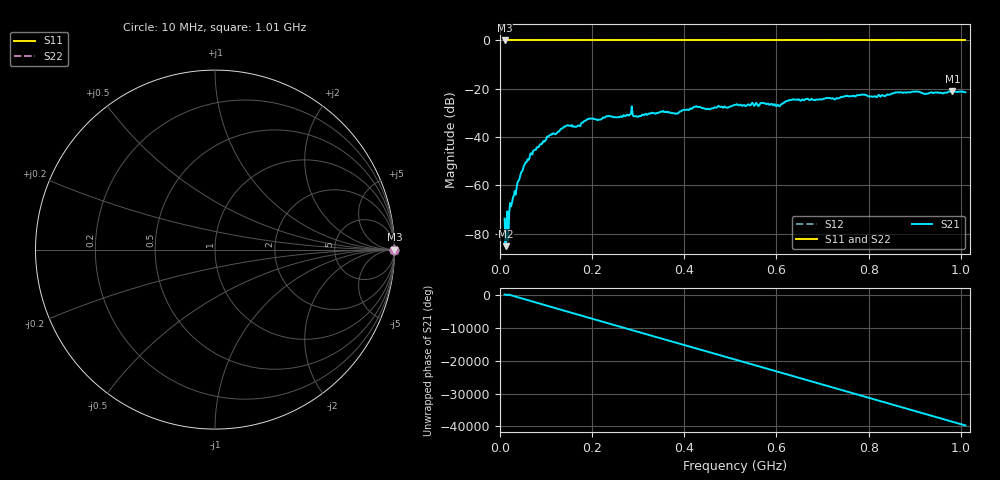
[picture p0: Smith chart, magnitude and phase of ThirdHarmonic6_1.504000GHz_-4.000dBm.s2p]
! 8/16/2025 5:40:41 PM
! C:\ANRITSUVNA\TEMP\TEMP.S2P
! CHANNEL.1
! TR.MEASUREMENT
! RAW.DATA
! RF.CORRECTION.OFF
! AVERAGING.OFF
! IF.BANDWIDTH: 5KHZ
! SWEEPTYPE:  FREQ.SWEEP(Linear)
! Reference Plane Port Info
! PORT:  PORT1  PORT2
! DISTANCE:  0  m  0  m
! TIME:  0  s  0  s
! PHASE.OFFSET:  0  deg.  0  deg.
! LOSS:  0  dB  0  dB
! REF.LOSS:  0  dB  0  dB
! REF.FREQ:  0  Hz  0  Hz
! Power Info
! POWER:  -20  dBm  -20  dBm
! EFF.POWER:  -20  dBm  -20  dBm
! SOURCE.ATTEN:  0  dB  0  dB
! TEST.ATTEN:  0  dB  0  dB
# GHZ S RI R 50.0
! FREQ.GHZ  S11RE  S11IM  S21RE  S21IM  S12RE  S12IM  S22RE  S22IM
!; PortSelection: Port_12
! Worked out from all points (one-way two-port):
!   501 points, 10 MHz to 1.01 GHz, reference 50 ohm
!   highest |S21| = -20.99 dB at 982 MHz (marker M1); lowest = -85.1 dB at 12 MHz (marker M2)
!   lowest |S11| = 0.0 dB at 10 MHz (marker M3)
!   |S11| at or under -10 dB: nowhere
!   |S22| runs from 0.0 to 0.0 dB; largest |S21 - S12| = 1.1
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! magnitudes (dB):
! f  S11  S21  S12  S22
! 10 MHz  0.0  -73.7  0.0  0.0
! 12 MHz  0.0  -85.1  0.0  0.0
! 16 MHz  0.0  -70.7  0.0  0.0
! 26 MHz  0.0  -67.2  0.0  0.0
! 48 MHz  0.0  -54.2  0.0  0.0
! 70 MHz  0.0  -47.2  0.0  0.0
! 106 MHz  0.0  -39.5  0.0  0.0
! 144 MHz  0.0  -35.4  0.0  0.0
! 178 MHz  0.0  -34.0  0.0  0.0
! 192 MHz  0.0  -32.4  0.0  0.0
! 234 MHz  0.0  -31.4  0.0  0.0
! 344 MHz  0.0  -30.0  0.0  0.0
! 382 MHz  0.0  -30.2  0.0  0.0
! 424 MHz  0.0  -27.5  0.0  0.0
! 452 MHz  0.0  -28.2  0.0  0.0
! 510 MHz  0.0  -26.7  0.0  0.0
! 604 MHz  0.0  -26.8  0.0  0.0
! 632 MHz  0.0  -24.6  0.0  0.0
! 678 MHz  0.0  -24.4  0.0  0.0
! 844 MHz  0.0  -22.5  0.0  0.0
! 982 MHz  0.0  -21.0  0.0  0.0
! 1.01 GHz  0.0  -21.4  0.0  0.0
